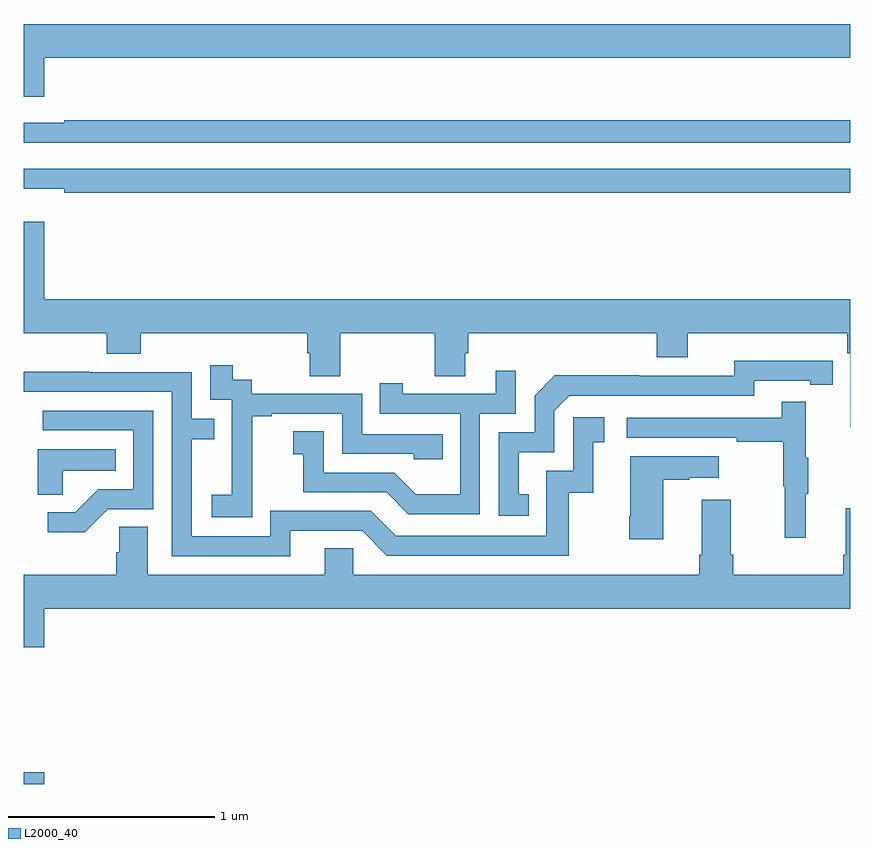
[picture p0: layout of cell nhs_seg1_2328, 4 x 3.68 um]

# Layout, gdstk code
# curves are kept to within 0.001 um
import gdstk
lib = gdstk.Library(unit=1e-6, precision=1e-09)
def R(c, l, rs):  # rectangles x0, y0, x1, y1
    for r in rs: c.add(gdstk.rectangle(r[:2], r[2:], *l))
def P(c, l, *ps):  # polygons
    for p in ps: c.add(gdstk.Polygon(p, *l))
L2000_40 = (2000, 40)

nhs_seg1_2328 = lib.new_cell('nhs_seg1_2328')
R(nhs_seg1_2328, L2000_40, [(237,568.199,237.1,568.255)])
P(nhs_seg1_2328, L2000_40, [(237.1,571.712),(241,571.712),(241,571.876),(237,571.876),(237,571.524),(237.1,571.524)],
  [(241,571.411),(237.196,571.411),(237.196,571.398),(237,571.398),(237,571.302),(241,571.302)],
  [(241,571.176),(237,571.176),(237,571.079),(237.196,571.079),(237.196,571.06),(241,571.06)],
  [(241,570.544),(237.1,570.544),(237.1,570.919),(237,570.919),(237,570.38),(237.401,570.38),(237.401,570.281),(237.566,570.281),(237.566,570.38),(238.373,570.38),(238.373,570.282),(238.385,570.282),(238.385,570.172),(238.533,570.172),(238.533,570.38),(238.99,570.38),(238.99,570.172),(239.137,570.172),(239.137,570.282),(239.15,570.282),(239.15,570.38),(240.062,570.38),(240.062,570.263),(240.214,570.263),(240.214,570.38),(240.986,570.38),(240.986,570.284),(240.999,570.284),(240.999,569.925),(241,569.925)],
  [(239.444,569.601),(239.395,569.601),(239.395,569.805),(239.568,569.805),(239.568,570.006),(239.64,570.078),(240.534,570.078),(240.534,570.15),(240.806,570.15),(240.806,570.13),(240.914,570.13),(240.914,570.246),(240.438,570.247),(240.438,570.174),(239.978,570.174),(239.978,570.176),(239.57,570.176),(239.472,570.078),(239.472,569.901),(239.298,569.901),(239.298,569.496),(239.444,569.496)],
  [(238.107,569.695),(238.106,569.695),(238.106,569.979),(238.201,569.979),(238.201,569.991),(238.542,569.991),(238.542,569.796),(238.887,569.796),(238.887,569.769),(239.027,569.769),(239.027,569.892),(238.638,569.892),(238.638,570.087),(238.104,570.087),(238.104,570.156),(238.012,570.156),(238.012,570.226),(237.903,570.226),(237.903,570.057),(238.008,570.057),(238.008,569.828),(238.007,569.828),(238.007,569.599),(237.909,569.599),(237.909,569.489),(238.107,569.489)],
  [(239.208,569.991),(239.382,569.991),(239.382,570.199),(239.285,570.199),(239.285,570.087),(238.834,570.087),(238.834,570.139),(238.723,570.139),(238.723,569.991),(239.112,569.991),(239.112,569.602),(238.898,569.602),(238.794,569.706),(238.452,569.706),(238.452,569.905),(238.305,569.905),(238.305,569.795),(238.354,569.795),(238.354,569.61),(238.757,569.61),(238.862,569.505),(239.208,569.505)],
  [(238.291,569.424),(238.638,569.424),(238.758,569.304),(239.638,569.304),(239.638,569.607),(239.756,569.607),(239.756,569.853),(239.809,569.853),(239.809,569.974),(239.658,569.974),(239.658,569.715),(239.529,569.715),(239.529,569.4),(238.8,569.4),(238.68,569.52),(238.194,569.52),(238.194,569.397),(237.813,569.397),(237.813,569.866),(237.923,569.866),(237.923,569.967),(237.813,569.967),(237.813,570.192),(237.317,570.192),(237.317,570.194),(237,570.194),(237,570.096),(237.717,570.096),(237.717,569.301),(238.291,569.301)],
  [(240.785,569.603),(240.796,569.603),(240.796,569.777),(240.785,569.777),(240.785,570.049),(240.667,570.049),(240.667,569.97),(239.919,569.97),(239.919,569.874),(240.451,569.874),(240.451,569.854),(240.675,569.854),(240.675,569.64),(240.682,569.64),(240.682,569.391),(240.785,569.391)],
  [(237.408,569.529),(237.627,569.529),(237.627,570.006),(237.093,570.006),(237.093,569.91),(237.531,569.91),(237.531,569.625),(237.362,569.625),(237.251,569.514),(237.117,569.514),(237.117,569.417),(237.295,569.417)],
  [(237.189,569.714),(237.446,569.714),(237.446,569.818),(237.068,569.818),(237.068,569.599),(237.189,569.599)],
  [(240.094,569.671),(240.221,569.671),(240.221,569.681),(240.364,569.681),(240.364,569.785),(239.936,569.785),(239.936,569.494),(239.929,569.494),(239.929,569.382),(240.094,569.382)],
  [(237.1,569.048),(241,569.048),(241,569.533),(240.977,569.533),(240.977,569.308),(240.965,569.308),(240.965,569.212),(240.434,569.212),(240.434,569.308),(240.421,569.308),(240.421,569.575),(240.281,569.575),(240.281,569.308),(240.269,569.308),(240.269,569.212),(238.596,569.212),(238.596,569.339),(238.457,569.339),(238.457,569.212),(237.601,569.212),(237.601,569.444),(237.462,569.444),(237.462,569.321),(237.449,569.321),(237.449,569.212),(237,569.212),(237,568.86),(237.1,568.86)])

lib.write_gds('nhs_seg1_2328.gds')
